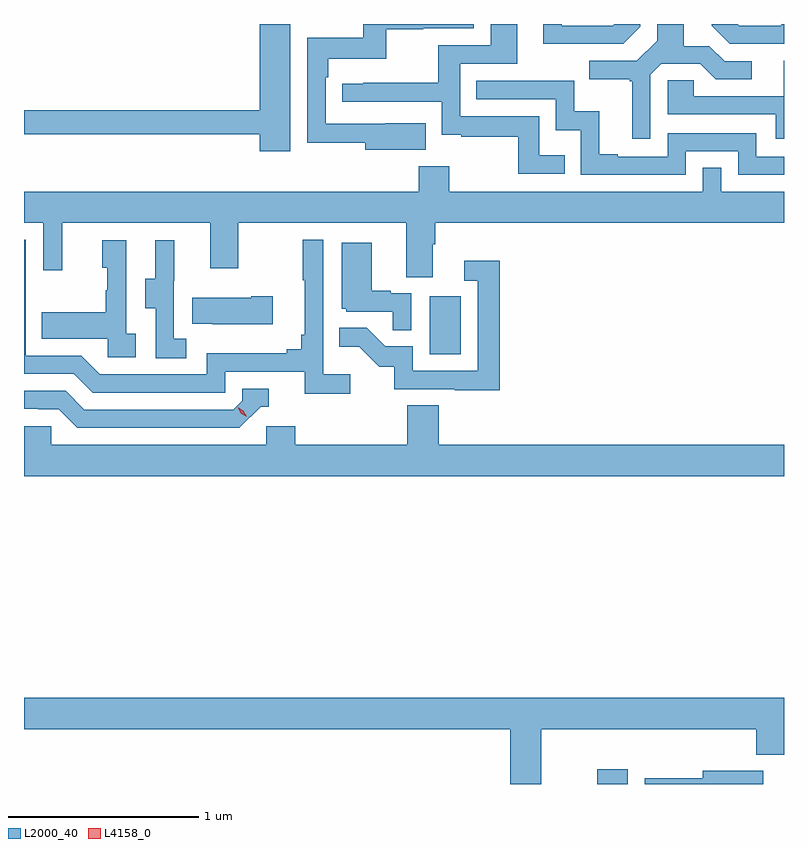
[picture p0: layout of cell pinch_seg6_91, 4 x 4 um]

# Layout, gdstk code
import gdstk
lib = gdstk.Library(unit=1e-6, precision=1e-09)
def R(c, l, rs):  # rectangles x0, y0, x1, y1
    for r in rs: c.add(gdstk.rectangle(r[:2], r[2:], *l))
def P(c, l, *ps):  # polygons
    for p in ps: c.add(gdstk.Polygon(p, *l))
L2000_40 = (2000, 40)
L4158_0 = (4158, 0)

pinch_seg6_91 = lib.new_cell('pinch_seg6_91')
R(pinch_seg6_91, L2000_40, [(926.15,920.407,926.311,920.485), (925.268,922.668,925.432,922.975)])
P(pinch_seg6_91, L2000_40, [(926.07,924.303),(926.286,924.303),(926.376,924.393),(926.376,924.407),(926.24,924.407),(926.232,924.399),(925.962,924.399),(925.962,924.407),(925.865,924.407),(925.865,924.302),(926.07,924.302)],
  [(925.247,923.884),(925.033,923.884),(925.033,923.883),(924.72,923.883),(924.72,924.128),(924.734,924.128),(924.734,924.224),(925.039,924.224),(925.039,924.379),(925.235,924.379),(925.235,924.384),(925.5,924.384),(925.5,924.407),(924.918,924.407),(924.918,924.334),(924.624,924.334),(924.624,923.782),(924.929,923.782),(924.929,923.744),(925.247,923.744)],
  [(926.43,924.141),(926.487,924.198),(926.693,924.198),(926.774,924.117),(926.962,924.117),(926.962,924.21),(926.82,924.21),(926.74,924.29),(926.605,924.29),(926.605,924.407),(926.465,924.407),(926.465,924.32),(926.358,924.213),(926.109,924.213),(926.109,924.116),(926.322,924.116),(926.322,924.105),(926.333,924.105),(926.333,923.802),(926.43,923.802)],
  [(925.979,923.716),(925.845,923.716),(925.845,923.922),(925.428,923.922),(925.428,924.198),(925.729,924.198),(925.729,924.407),(925.589,924.407),(925.589,924.294),(925.312,924.294),(925.312,924.098),(924.919,924.098),(924.919,924.093),(924.807,924.093),(924.807,923.997),(925.332,923.997),(925.332,923.825),(925.435,923.825),(925.435,923.814),(925.734,923.814),(925.734,923.619),(925.979,923.619)],
  [(927.133,924.407),(927.122,924.407),(927.114,924.399),(926.898,924.399),(926.89,924.407),(926.753,924.407),(926.753,924.397),(926.847,924.303),(927.133,924.303)],
  [(924.535,924.407),(924.374,924.407),(924.374,923.954),(923.133,923.954),(923.133,923.826),(924.374,923.826),(924.374,923.736),(924.535,923.736)],
  [(927.133,924.213),(927.131,924.213),(927.131,924.027),(926.657,924.027),(926.657,924.111),(926.52,924.111),(926.52,923.931),(927.089,923.931),(927.089,923.802),(927.133,923.802)],
  [(926.616,923.736),(926.892,923.736),(926.892,923.613),(927.133,923.613),(927.133,923.709),(926.988,923.709),(926.988,923.832),(926.52,923.832),(926.52,923.709),(926.257,923.709),(926.257,923.722),(926.161,923.722),(926.161,923.947),(926.028,923.947),(926.028,924.108),(925.513,924.108),(925.513,924.012),(925.932,924.012),(925.932,923.849),(926.064,923.849),(926.064,923.613),(926.616,923.613)],
  [(925.285,923.248),(925.298,923.248),(925.298,923.36),(927.133,923.36),(927.133,923.524),(926.802,923.524),(926.802,923.651),(926.706,923.651),(926.706,923.524),(925.371,923.524),(925.371,923.659),(925.211,923.659),(925.211,923.524),(923.133,923.524),(923.133,923.36),(923.235,923.36),(923.235,923.112),(923.333,923.112),(923.333,923.36),(924.113,923.36),(924.113,923.121),(924.261,923.121),(924.261,923.36),(925.145,923.36),(925.145,923.074),(925.285,923.074)],
  [(924.85,922.564),(924.708,922.564),(924.708,923.272),(924.6,923.272),(924.6,923.059),(924.611,923.059),(924.611,922.771),(924.592,922.771),(924.592,922.694),(924.515,922.694),(924.515,922.675),(924.096,922.675),(924.096,922.563),(923.532,922.563),(923.433,922.662),(923.142,922.662),(923.142,923.271),(923.133,923.271),(923.133,922.566),(923.396,922.566),(923.495,922.467),(924.192,922.467),(924.192,922.578),(924.611,922.578),(924.611,922.462),(924.85,922.462)],
  [(923.722,922.778),(923.67,922.778),(923.67,923.269),(923.546,923.269),(923.546,923.124),(923.572,923.124),(923.572,923.006),(923.562,923.006),(923.562,922.891),(923.227,922.891),(923.227,922.751),(923.574,922.751),(923.574,922.653),(923.722,922.653)],
  [(923.986,922.751),(923.922,922.751),(923.922,923.055),(923.924,923.055),(923.924,923.269),(923.825,923.269),(923.825,923.067),(923.771,923.067),(923.771,922.912),(923.826,922.912),(923.826,922.648),(923.986,922.648)],
  [(925.17,922.989),(925.064,922.989),(925.064,923.002),(924.964,923.002),(924.964,923.257),(924.806,923.257),(924.806,922.908),(924.828,922.908),(924.828,922.893),(925.075,922.893),(925.075,922.795),(925.17,922.795)],
  [(925.637,923.161),(925.449,923.161),(925.449,923.055),(925.521,923.055),(925.521,922.581),(925.179,922.581),(925.179,922.71),(925.035,922.71),(924.937,922.808),(924.793,922.808),(924.793,922.709),(924.897,922.709),(925.004,922.602),(925.081,922.602),(925.081,922.485),(925.399,922.485),(925.399,922.48),(925.637,922.48)],
  [(924.442,922.974),(924.329,922.974),(924.329,922.966),(924.019,922.966),(924.019,922.829),(924.127,922.829),(924.127,922.826),(924.442,922.826)],
  [(924.378,922.392),(924.421,922.392),(924.421,922.488),(924.282,922.488),(924.282,922.425),(924.234,922.377),(923.451,922.377),(923.352,922.476),(923.133,922.476),(923.133,922.383),(923.208,922.383),(923.208,922.38),(923.315,922.38),(923.414,922.281),(924.267,922.281)],
  [(927.133,922.192),(925.316,922.192),(925.316,922.4),(925.151,922.4),(925.151,922.192),(924.56,922.192),(924.56,922.29),(924.408,922.29),(924.408,922.192),(923.277,922.192),(923.277,922.29),(923.133,922.29),(923.133,922.028),(927.133,922.028)],
  [(925.855,920.696),(926.987,920.696),(926.987,920.561),(927.133,920.561),(927.133,920.86),(923.133,920.86),(923.133,920.696),(925.691,920.696),(925.691,920.407),(925.855,920.407)],
  [(927.023,920.476),(926.705,920.476),(926.705,920.438),(926.4,920.438),(926.4,920.407),(927.023,920.407)])
P(pinch_seg6_91, L4158_0, [(924.305,922.339),(924.274,922.358),(924.257,922.39),(924.257,922.39),(924.258,922.39),(924.288,922.371),(924.305,922.339),(924.305,922.339)])

lib.write_gds('pinch_seg6_91.gds')
